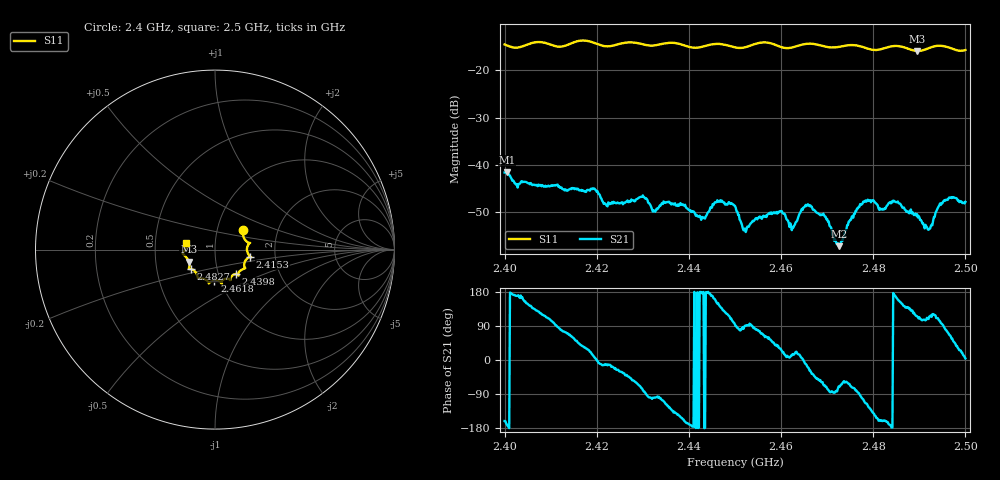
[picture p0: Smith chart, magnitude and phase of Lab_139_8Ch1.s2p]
# Hz S RI R 50
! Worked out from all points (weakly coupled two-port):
!   601 points, 2.4 GHz to 2.5 GHz, reference 50 ohm
!   highest |S21| = -41.55 dB at 2.4005 GHz (marker M1); lowest = -57.2 dB at 2.4725 GHz (marker M2)
!   lowest |S11| = -15.9 dB at 2.4895 GHz (marker M3), VSWR 1.38, Z = 37 - j5.04 ohm
!   |S11| at or under -10 dB: start of sweep to end of sweep
!   S12 and S22 are empty: the file has one direction only
!   S11 on the Smith chart (normalised r, x): 2.4 GHz: 1.33, +0.29; 2.4153 GHz: 1.48, -0.12; 2.4398 GHz: 1.21, -0.34; 2.4618 GHz: 0.94, -0.33; 2.4827 GHz: 0.75, -0.17; 2.5 GHz: 0.72, +0.06
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2.4e9  0.1546 0.1066  -0.00786 -0.00271  0 0  0 0
2.4005e9  0.1546 0.0991  -0.00824 -0.00141  0 0  0 0
2.402667e9  0.1616 0.0638  -0.00614 0.00118  0 0  0 0
2.415333e9  0.1964 -0.0388  0.00347 0.00444  0 0  0 0
2.416667e9  0.2024 -0.0428  0.00424 0.0034  0 0  0 0
2.433333e9  0.13 -0.1341  -0.000562 -0.00345  0 0  0 0
2.439833e9  0.1152 -0.1358  -0.0033 -0.000708  0 0  0 0
2.443e9  0.0889 -0.1545  -0.0028 0.000123  0 0  0 0
2.446333e9  0.0848 -0.1707  -0.00354 0.00205  0 0  0 0
2.45e9  0.0651 -0.1624  -0.000215 0.00368  0 0  0 0
2.452167e9  0.0431 -0.1699  -1.68e-05 0.00212  0 0  0 0
2.459833e9  0.0226 -0.1761  0.0028 0.00164  0 0  0 0
2.461833e9  -0.00356 -0.1726  0.00219 0.000242  0 0  0 0
2.466667e9  -0.0348 -0.1878  0.0029 -0.00215  0 0  0 0
2.4725e9  -0.0758 -0.16  0.00048 -0.0013  0 0  0 0
2.477667e9  -0.0981 -0.1474  -0.000822 -0.00381  0 0  0 0
2.482667e9  -0.1345 -0.1085  -0.00327 -0.00109  0 0  0 0
2.483333e9  -0.1398 -0.1082  -0.00386 -0.000728  0 0  0 0
2.4895e9  -0.1458 -0.0664  -0.0013 0.00272  0 0  0 0
2.492e9  -0.1679 -0.0345  -0.000642 0.00195  0 0  0 0
2.495333e9  -0.1792 -0.0186  0.000155 0.00418  0 0  0 0
2.5e9  -0.1595 0.0388  0.00404 0.0003  0 0  0 0
